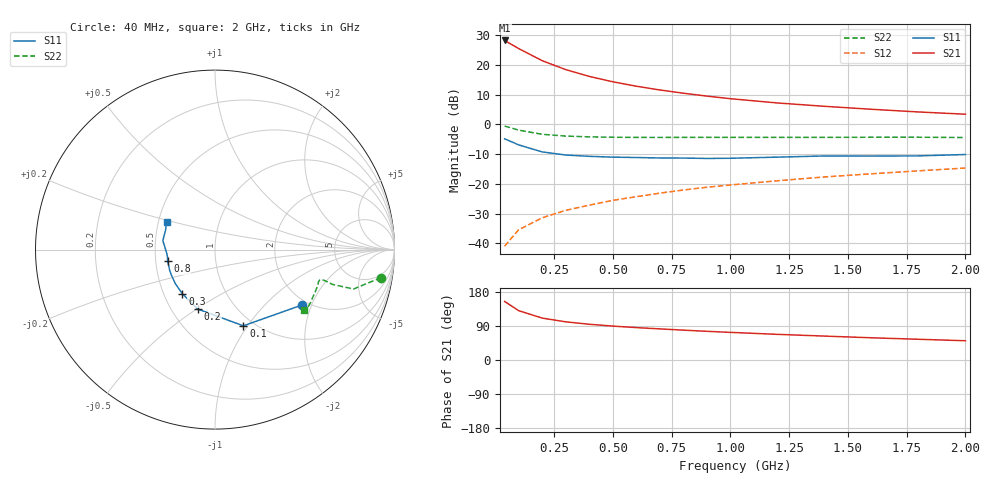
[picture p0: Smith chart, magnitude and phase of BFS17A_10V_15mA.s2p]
! Filename:  BFS17AI.S2P  Version:  2.0
! Philips part #: BFS17A  Date: May 1990
! Bias condition: Vce=10V, Ic=15mA
#  MHz  S  MA  R  50
! Freq  S11  S21  S12  S22  !GUM [dB]
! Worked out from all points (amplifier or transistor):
!   16 points, 40 MHz to 2 GHz, reference 50 ohm
!   highest |S21| = 28.2 dB at 40 MHz (marker M1)
!   |S21| within 3 dB of that: start of sweep to 106.6 MHz
!   unconditionally stable (mu >= 1): 392.6 MHz to end of sweep
!   at 200 MHz: K = 0.79, MSG = 26.4 dB, |S12| = -31.4 dB
!   at 800 MHz: K = 1.09, MAG = 14.5 dB, |S12| = -22.0 dB
!   at 2 GHz: K = 1.00, MAG = 8.7 dB, |S12| = -14.7 dB
!   S11 on the Smith chart (normalised r, x): 40 MHz: 1.85, -1.70; 100 MHz: 0.89, -0.95; 200 MHz: 0.67, -0.51; 300 MHz: 0.62, -0.34; 800 MHz: 0.58, -0.08; 2 GHz: 0.55, +0.19
40  0.573 -32.7  25.75 154.5  0.009 76.8  0.938 -9.6
100  0.453 -69.6  18.8 130.1  0.017 67.3  0.802 -15.9
200  0.345 -105.9  11.76 110.6  0.027 65.9  0.682 -16.5
300  0.306 -126.5  8.332 100.7  0.036 68.0  0.637 -15.8
400  0.291 -139.6  6.408 94.3  0.044 70.4  0.618 -15.6
500  0.282 -148.4  5.206 89.5  0.053 72.3  0.609 -16.0
600  0.278 -155.3  4.386 85.5  0.061 73.7  0.605 -16.7
700  0.273 -160.8  3.792 82.1  0.07 75.2  0.604 -17.6
800  0.272 -166.2  3.347 78.8  0.079 75.4  0.606 -18.6
900  0.268 -171.4  2.992 75.7  0.088 76.1  0.606 -19.7
1000  0.27 -176.0  2.707 72.9  0.096 76.6  0.606 -20.8
1200  0.282 175.9  2.295 67.7  0.113 77.3  0.606 -23.3
1400  0.295 170.2  2.016 63.1  0.131 78.0  0.606 -26.1
1600  0.294 164.6  1.797 58.6  0.148 78.3  0.609 -28.7
1800  0.296 158.3  1.619 54.7  0.166 78.6  0.609 -31.4
2000  0.312 149.9  1.484 50.8  0.185 78.4  0.602 -34.1
